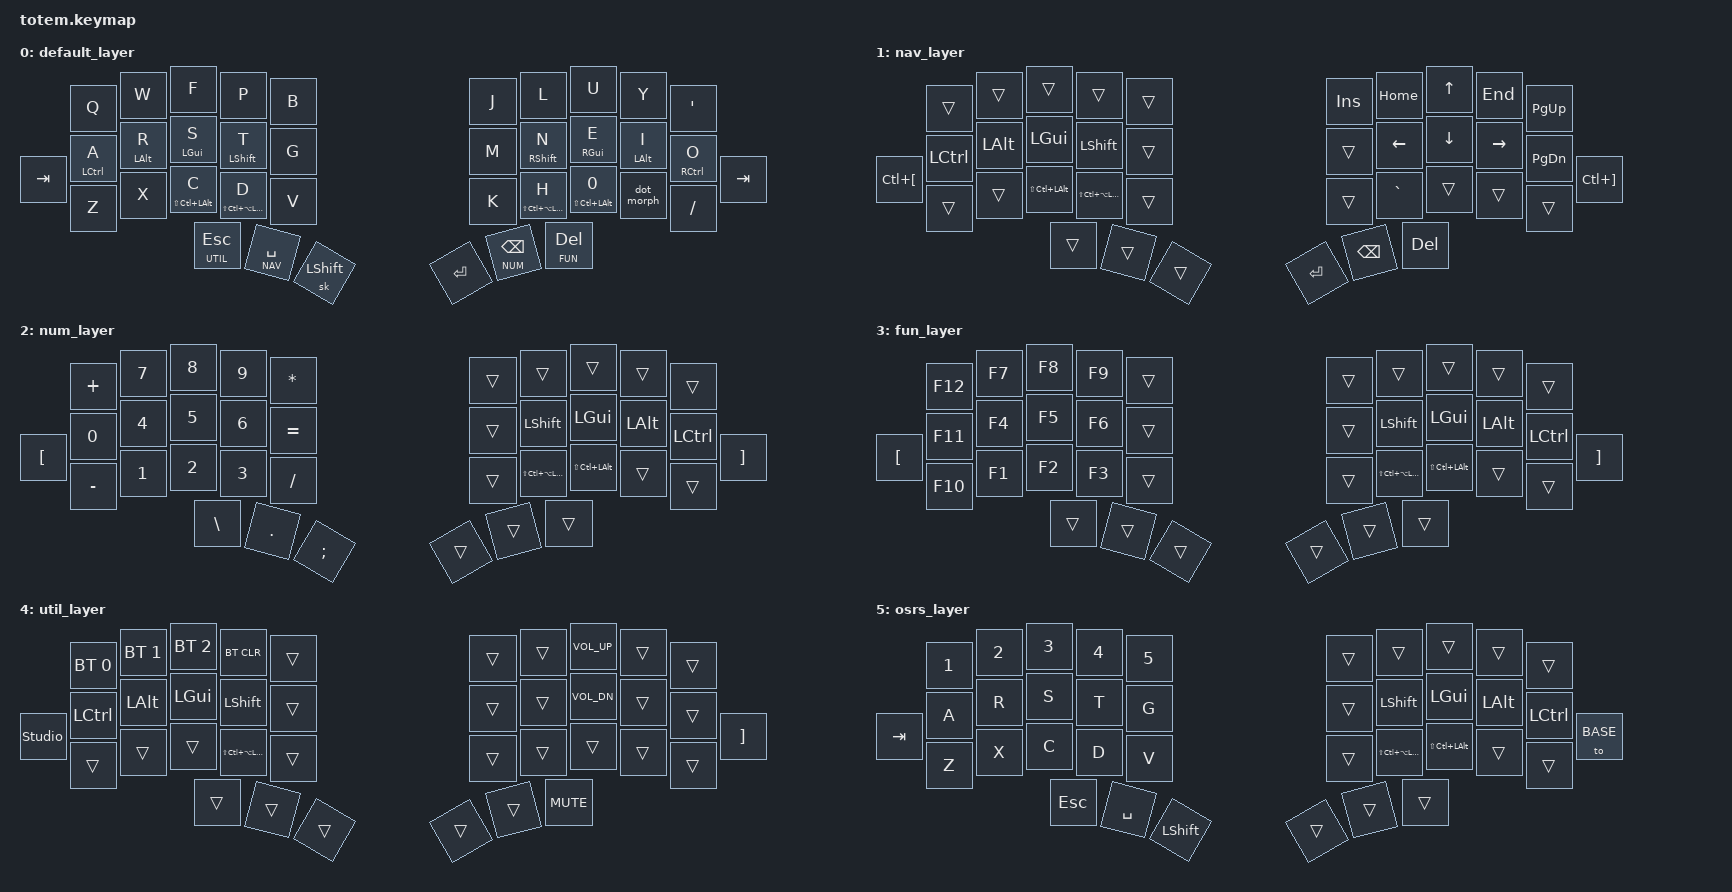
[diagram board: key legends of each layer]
/*
 * Copyright (c) 2020 The ZMK Contributors
 *
 * SPDX-License-Identifier: MIT
 */

#include <behaviors.dtsi>
#include <dt-bindings/zmk/keys.h>
#include <dt-bindings/zmk/bt.h>
#include "zmk-helpers/helper.h"

// Source desired key-position labels
#include "zmk-helpers/key-labels/totem.h"

#define XXX &none
#define ___ &trans

#define BASE 0
#define NAV 1
#define NUM 2
#define FUN 3
#define UTIL 4
#define OSRS 5

// navigation bindings for back/forward and prev tab/next tab
#define BACK &kp LC(LBKT)
#define FWD &kp LC(RBKT)

// hyper and meh keys
#define HYP LS(LC(LA(LGUI)))
#define MEH LS(LC(LALT))

/* ------------------------ general config ----------------------- */

#define QUICK_TAP_MS 175

// smart-layer config
&caps_word {  
    // /delete-property/ ignore-modifiers; // mods deactivate, requires PR #1451
    /delete-property/ ignore-numbers;
    continue-list = <BACKSPACE ENTER DELETE UNDERSCORE MINUS>;
};

// key-repeat config
&key_repeat {
    usage-pages = <HID_USAGE_KEY HID_USAGE_CONSUMER>; // repeat all keys
};

// sticky key aka 'one-shot mods'
&sk {
    release-after-ms = <2000>;
    quick-release;
};

// default layer-tap config
&lt {  
    flavor = "balanced";
    tapping-term-ms = <200>;
    quick-tap-ms = <QUICK_TAP_MS>;
};

#define KEYS_L LT0 LT1 LT2 LT3 LT4 LM0 LM1 LM2 LM3 LM4 LB0 LB1 LB2 LB3 LB4  // left hand
#define KEYS_R RT0 RT1 RT2 RT3 RT4 RM0 RM1 RM2 RM3 RM4 RB0 RB1 RB2 RB3 RB4  // right hand
#define THUMBS LH2 LH1 LH0 RH0 RH1 RH2                                      // thumbs

#define MAKE_HRM(NAME, HOLD, TAP, TRIGGER_POS) \
    ZMK_BEHAVIOR(NAME, hold_tap, \
        flavor = "balanced"; \
        tapping-term-ms = <280>; \
        quick-tap-ms = <QUICK_TAP_MS>; \
        require-prior-idle-ms = <150>; \
        bindings = <HOLD>, <TAP>; \
        hold-trigger-key-positions = <TRIGGER_POS>; \
        hold-trigger-on-release; \
    )
MAKE_HRM(hml, &kp, &kp, KEYS_R THUMBS)  // left-hand HRMs
MAKE_HRM(hmr, &kp, &kp, KEYS_L THUMBS)  // right-hand HRMs

// special HRMs for the right meh key, as it involves a modmorph
MAKE_HRM(hmr_meh, &kp, &comma_morph, KEYS_L THUMBS)

/ {
    behaviors {
        // tap: dot | shift + tap: colon | shift + control + tap: greater_than
        GT_morph: GT_morph {
            compatible = "zmk,behavior-mod-morph";
            #binding-cells = <0>;
            bindings = <&kp COLON>, <&kp GT>;
            mods = <(MOD_LCTL|MOD_RCTL)>;
        };
        dot_morph: dot_morph {
            compatible = "zmk,behavior-mod-morph";
            #binding-cells = <0>;
            bindings = <&kp DOT>, <&GT_morph>;
            mods = <(MOD_LSFT|MOD_RSFT)>;
        };

        // tap: comma | shift + tap: semicolon | shift + control + tap: less_than
        LT_morph: LT_morph {
            compatible = "zmk,behavior-mod-morph";
            #binding-cells = <0>;
            bindings = <&kp SEMICOLON>, <&kp LT>;
            mods = <(MOD_LCTL|MOD_RCTL)>;
        };
        comma_morph: comma_morph {
            compatible = "zmk,behavior-mod-morph";
            #binding-cells = <0>;
            bindings = <&kp COMMA>, <&LT_morph>;
            mods = <(MOD_LSFT|MOD_RSFT)>;
        };
        
        // tap: qmark | shift + tap: excl
        qexcl: qexcl {
            compatible = "zmk,behavior-mod-morph";
            #binding-cells = <0>;
            bindings = <&kp QMARK>, <&kp EXCL>;
            mods = <(MOD_LSFT|MOD_RSFT)>;
        };
    };
    combos {
        compatible = "zmk,combos";
        combo_osrs {
            timeout-ms = <QUICK_TAP_MS>;
            key-positions = <20 31>;
            bindings = <&to OSRS>;
        };
    };
    keymap {
        compatible = "zmk,keymap";
        default_layer { // ColemakDHm
            bindings = <
            &kp Q         &kp W         &kp F            &kp P            &kp B              &kp J         &kp L              &kp U            &kp Y         &kp APOS 
            &hml LCTRL A  &hml LALT R   &hml LGUI S      &hml LSHFT T     &kp G              &kp M         &hmr RSHFT N       &hmr RGUI E      &hmr LALT I   &hmr RCTRL O
&kp TAB    &kp Z         &kp X         &hml MEH C       &hml HYP D       &kp V              &kp K         &hmr HYP H         &hmr_meh MEH 0   &dot_morph    &kp FSLH      &kp TAB
                                        &lt UTIL ESC     &lt NAV SPACE    &sk LSHFT       &kp RET       &lt NUM BSPC       &lt FUN DEL
            >;
        };
        nav_layer { 
            bindings = <
            ___          ___          ___             ___             ___                &kp INS       &kp HOME          &kp UP          &kp END       &kp PAGE_UP 
            &kp LCTRL     &kp LALT     &kp LGUI       &kp LSHFT       ___                ___           &kp LEFT          &kp DOWN        &kp RIGHT     &kp PAGE_DOWN
BACK    ___           ___          &kp MEH         &kp HYP         ___                ___          &kp GRAVE         ___             ___      		___	  FWD
                                       ___            ___             ___                &kp RET       &kp BSPC          &kp DEL
            >;
        }; 
        num_layer {
            bindings = <
            &kp PLUS     &kp N7       &kp N8          &kp  N9         &kp STAR           ___           ___               ___             ___           ___ 
            &kp N0       &kp N4       &kp N5          &kp  N6         &kp EQUAL          ___           &kp LSHFT         &kp LGUI        &kp LALT      &kp LCTRL
  &kp LBKT  &kp MINUS    &kp N1       &kp N2          &kp  N3         &kp FSLH           ___           &kp HYP           &kp MEH         ___           ___            &kp RBKT
                                      &kp BSLH        &kp  DOT        &kp SEMI           ___           ___               ___
            >;
        };
        fun_layer {
            bindings = <
            &kp F12      &kp F7       &kp F8          &kp F9          ___                ___           ___               ___             ___           ___
            &kp F11      &kp F4       &kp F5          &kp F6          ___                ___           &kp LSHFT         &kp LGUI        &kp LALT      &kp LCTRL 
&kp LBKT    &kp F10      &kp F1       &kp F2          &kp F3          ___                ___           &kp HYP           &kp MEH         ___           ___            &kp RBKT
                                      ___             ___             ___                ___           ___               ___
            >;
        };
        util_layer {
            bindings = <
            &bt BT_SEL 0 &bt BT_SEL 1 &bt BT_SEL 2    &bt BT_CLR      ___                ___           ___               &kp C_VOL_UP    ___           ___
            &kp LCTRL     &kp LALT     &kp LGUI       &kp LSHFT      ___                ___           ___                &kp C_VOL_DN    ___           ___ 
&studio_unlock ___          ___          ___             &kp HYP        ___                ___           ___               ___             ___           ___             &kp RBKT
                                      ___             ___             ___                ___           ___               &kp C_MUTE
            >;
        };
        osrs_layer {
            bindings = <
            &kp N1     &kp N2       &kp N3          &kp  N4         &kp N5           ___           ___               ___             ___           ___ 
            &kp A      &kp R        &kp S           &kp  T          &kp G           ___           &kp LSHFT         &kp LGUI        &kp LALT      &kp LCTRL
  &kp TAB   &kp Z      &kp X        &kp C           &kp  D          &kp V           ___           &kp HYP           &kp MEH         ___           ___            &to BASE
                                    &kp ESC       &kp  SPACE        &kp LSHFT           ___           ___               ___
            >;
        };
       
        extra1 {
            status = "reserved";
        };

        extra2 {
            status = "reserved";
        };
    };
};
    
/* --------------------------------- combos --------------------------------- */
/*
   ╭────────────────────┬────────────────────╮     ╭─────────────────────┬─────────────────────╮
   │  0   1   2   3   4 │  5   6   7   8   9 │     │ LT4 LT3 LT2 LT1 LT0 │ RT0 RT1 RT2 RT3 RT4 │
   │ 10  11  12  13  14 │ 15  16  17  18  19 │     │ LM4 LM3 LM2 LM1 LM0 │ RM0 RM1 RM2 RM3 RM4 │
  20 21  22  23  24  25 │ 26  27  28  29  30 31  LB5 LB4 LB3 LB2 LB1 LB0 │ RB0 RB1 RB2 RB3 RB4 RB5
   ╰───────╮ 32  33  34 │ 35  36  37 ╭───────╯     ╰───────╮ LH2 LH1 LH0 │ RH0 RH1 RH2 ╭───────╯
           ╰────────────┴────────────╯                     ╰─────────────┴─────────────╯             */
// use global-quick-tap-ms for combos (requires PR 1387)
